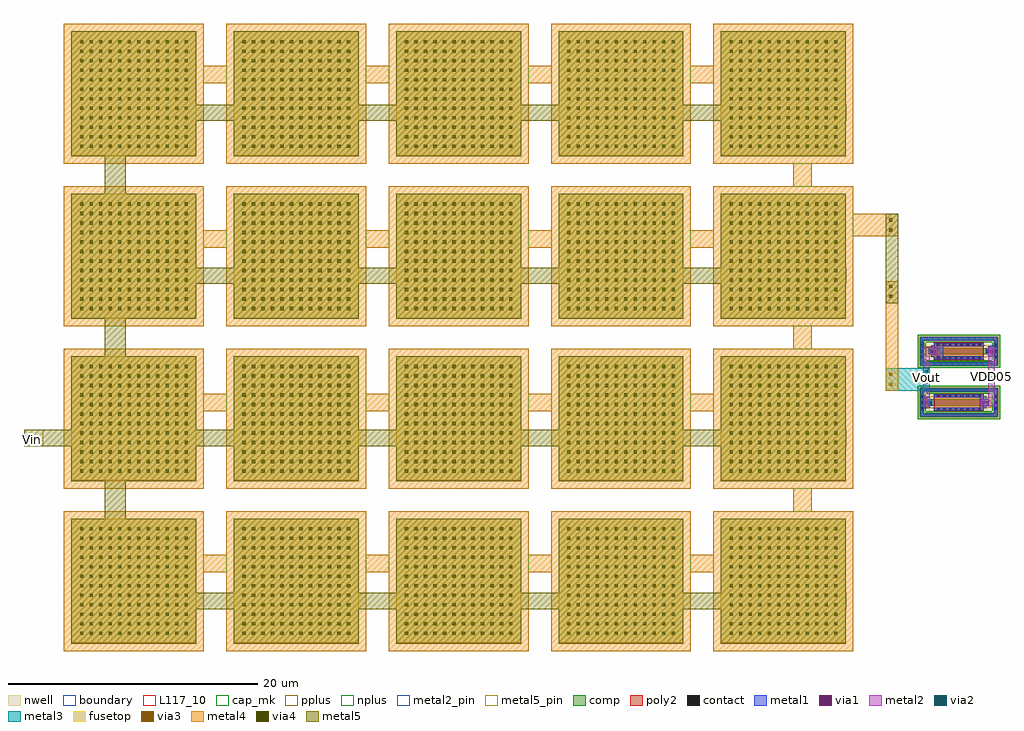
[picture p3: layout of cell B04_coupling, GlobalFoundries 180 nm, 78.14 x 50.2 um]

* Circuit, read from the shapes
.subckt B04_coupling VDD05 Vin Vout
XM1 VDD05 VDD05 Vout Vout pfet_03v3 w=0.5u l=4u
XM2 VDD05 Vout Vout VDD05 pfet_03v3 w=0.5u l=4u
XC3 Vin Vout cap_mim_2f0fF c_width=10u c_length=10u m=20
.ends

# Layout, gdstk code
import gdstk
lib = gdstk.Library(unit=1e-6, precision=1e-09)
def R(c, l, rs):  # rectangles x0, y0, x1, y1
    for r in rs: c.add(gdstk.rectangle(r[:2], r[2:], *l))
def A(c, l, x, y, w, h, nx, ny, dx, dy):  # array of equal rectangles
    R(c, l, [(x+i*dx, y+j*dy, x+i*dx+w, y+j*dy+h) for i in range(nx) for j in range(ny)])
boundary = (0, 0)
nwell = (21, 0)
comp = (22, 0)
poly2 = (30, 0)
pplus = (31, 0)
nplus = (32, 0)
contact = (33, 0)
metal1 = (34, 0)
via1 = (35, 0)
metal2 = (36, 0)
metal2_pin = (36, 10)
via2 = (38, 0)
via3 = (40, 0)
via4 = (41, 0)
metal3 = (42, 0)
metal4 = (46, 0)
fusetop = (75, 0)
metal5 = (81, 0)
metal5_pin = (81, 10)
cap_mk = (117, 5)
L117_10 = (117, 10)

cap_mim_6 = lib.new_cell('cap_mim$6')
A(cap_mim_6, via4, 0.69, 0.69, 0.26, 0.26, 12, 12, 0.76, 0.76)
R(cap_mim_6, metal4, [(-0.6,-0.6,10.6,10.6)])
R(cap_mim_6, fusetop, [(0,0,10,10)])
R(cap_mim_6, metal5, [(0,0,10,10)])
R(cap_mim_6, cap_mk, [(-0.6,-0.6,10.6,10.6)])
R(cap_mim_6, L117_10, [(0,0,10,0.1)])

via_dev_1_1 = lib.new_cell('via_dev$1$1')
R(via_dev_1_1, via4, [(0.07,0.07,0.33,0.33)])
R(via_dev_1_1, metal4, [(0,0,0.4,0.4)])
R(via_dev_1_1, metal5, [(0,0,0.4,0.4)])

via_dev_19 = lib.new_cell('via_dev$19')
R(via_dev_19, metal2, [(0,0,0.4,0.4)])
R(via_dev_19, via2, [(0.07,0.07,0.33,0.33)])
R(via_dev_19, metal3, [(0,0,0.4,0.4)])

via_dev_3_2 = lib.new_cell('via_dev$3$2')
R(via_dev_3_2, via3, [(0.07,0.07,0.33,0.33)])
R(via_dev_3_2, metal3, [(0,0,0.4,0.4)])
R(via_dev_3_2, metal4, [(0,0,0.4,0.4)])

pfet_03v3_u5kmrz = lib.new_cell('pfet_03v3_U5KMRZ')
R(pfet_03v3_u5kmrz, boundary, [(-2.95,-1,2.95,1)])
R(pfet_03v3_u5kmrz, nwell, [(-3.25,-1.3,3.25,1.3)])
R(pfet_03v3_u5kmrz, comp, [(-3.13,-1.18,3.13,-0.82), (-3.13,-0.82,-2.77,0.82), (2.77,-0.82,3.13,0.82), (-2.44,-0.25,2.44,0.25), (-3.13,0.82,3.13,1.18)])
R(pfet_03v3_u5kmrz, poly2, [(-2,-0.71,2,0.71)])
R(pfet_03v3_u5kmrz, pplus, [(-2.23,-0.48,2.23,-0.41), (-2.6,-0.41,2.6,0.41), (-2.23,0.41,2.23,0.48)])
R(pfet_03v3_u5kmrz, nplus, [(-3.29,-1.34,3.29,-0.71), (-3.29,-0.71,-2.66,0.71), (2.66,-0.71,3.29,0.71), (-3.29,0.71,3.29,1.34)])
A(pfet_03v3_u5kmrz, contact, -1.755, -0.64, 0.22, 0.22, 8, 2, 0.47, 1.06)
A(pfet_03v3_u5kmrz, contact, -3.06, -0.58, 0.22, 0.22, 1, 3, 0, 0.47)
A(pfet_03v3_u5kmrz, contact, 2.84, -0.58, 0.22, 0.22, 1, 3, 0, 0.47)
R(pfet_03v3_u5kmrz, contact, [(-2.37,-0.11,-2.15,0.11), (2.15,-0.11,2.37,0.11)])
R(pfet_03v3_u5kmrz, metal1, [(-3.065,-1.115,3.065,-0.885), (-3.065,-0.885,-2.835,0.885), (2.835,-0.885,3.065,0.885), (-1.99,-0.645,1.99,-0.415), (-2.375,-0.24,-2.145,0.24), (2.145,-0.24,2.375,0.24), (-1.99,0.415,1.99,0.645), (-3.065,0.885,3.065,1.115)])

b04_coupling = lib.new_cell('B04_coupling')
R(b04_coupling, metal1, [(-0.15,1.05,0.4,1.95), (4.4,1.05,4.95,1.95), (0.55,5.15,1.5,6.05), (5.1,5.15,5.65,6.05)])
R(b04_coupling, via1, [(0.02,1.37,0.28,1.63), (4.57,1.37,4.83,1.63), (0.67,5.47,0.93,5.73), (5.22,5.47,5.48,5.73)])
R(b04_coupling, metal2, [(-0.1,1.2,0.4,5.3), (4.45,1.2,5.6,1.8), (5.1,1.8,5.6,5.9), (-0.1,5.3,1.05,5.9)])
R(b04_coupling, metal2_pin, [(-0.05,3.4,0.4,3.55), (5.1,3.5,5.55,3.65)])
R(b04_coupling, metal3, [(-3.1,2.45,0.4,4.25)])
R(b04_coupling, metal4, [(-57.95,-12.1,-55.7,-10.7), (-44.95,-12.1,-42.7,-10.7), (-32,-12.1,-29.75,-10.7), (-19,-12.1,-16.75,-10.7), (-10.5,-7.35,-9.05,-5.2), (-57.95,0.8,-55.7,2.2), (-44.95,0.8,-42.7,2.2), (-32,0.8,-29.75,2.2), (-19,0.8,-16.75,2.2), (-3.1,2.45,-2.1,11.2), (-10.5,5.7,-9.05,7.85), (-57.95,13.9,-55.7,15.3), (-44.95,13.9,-42.7,15.3), (-32,13.9,-29.75,15.3), (-19,13.9,-16.75,15.3), (-5.8,14.8,-2.1,16.6), (-10.5,18.55,-9.05,20.7), (-57.95,27.05,-55.7,28.45), (-44.95,27.05,-42.7,28.45), (-32,27.05,-29.75,28.45), (-19,27.05,-16.75,28.45)])
R(b04_coupling, metal5, [(-68.3,-15.05,-6.25,-13.75), (-65.65,-15.05,-63.95,25.4), (-72.1,-2,-6.25,-0.7), (-3.1,9.45,-2.1,16.6), (-68.3,11,-6.25,12.3), (-68.3,24.05,-6.25,25.35)])
R(b04_coupling, metal5_pin, [(-72.1,-2,-70.55,-0.7)])
r = gdstk.Reference(cap_mim_6, (-68.3,-17.8)); r.repetition = gdstk.Repetition(5, 4, v1=(13,0), v2=(0,13)); b04_coupling.add(r)
r = gdstk.Reference(via_dev_1_1, (-2.9,15.1)); r.repetition = gdstk.Repetition(1, 2, v1=(0,0), v2=(0,0.8)); b04_coupling.add(r)
r = gdstk.Reference(via_dev_19, (-0.05,2.95)); r.repetition = gdstk.Repetition(1, 2, v1=(0,0), v2=(0,0.8)); b04_coupling.add(r)
r = gdstk.Reference(via_dev_1_1, (-2.9,9.8)); r.repetition = gdstk.Repetition(1, 2, v1=(0,0), v2=(0,0.8)); b04_coupling.add(r)
r = gdstk.Reference(via_dev_3_2, (-2.9,2.75)); r.repetition = gdstk.Repetition(1, 2, v1=(0,0), v2=(0,0.8)); b04_coupling.add(r)
b04_coupling.add(gdstk.Reference(pfet_03v3_u5kmrz, (2.75,5.6)))
b04_coupling.add(gdstk.Reference(pfet_03v3_u5kmrz, (2.75,1.5)))
b04_coupling.add(gdstk.Label('Vin', (-71.45,-1.5), layer=81, texttype=10))
b04_coupling.add(gdstk.Label('VDD05', (5.325,3.575), layer=36, texttype=10))
b04_coupling.add(gdstk.Label('Vout', (0.175,3.475), layer=36, texttype=10))

lib.write_gds('B04_coupling.gds')
